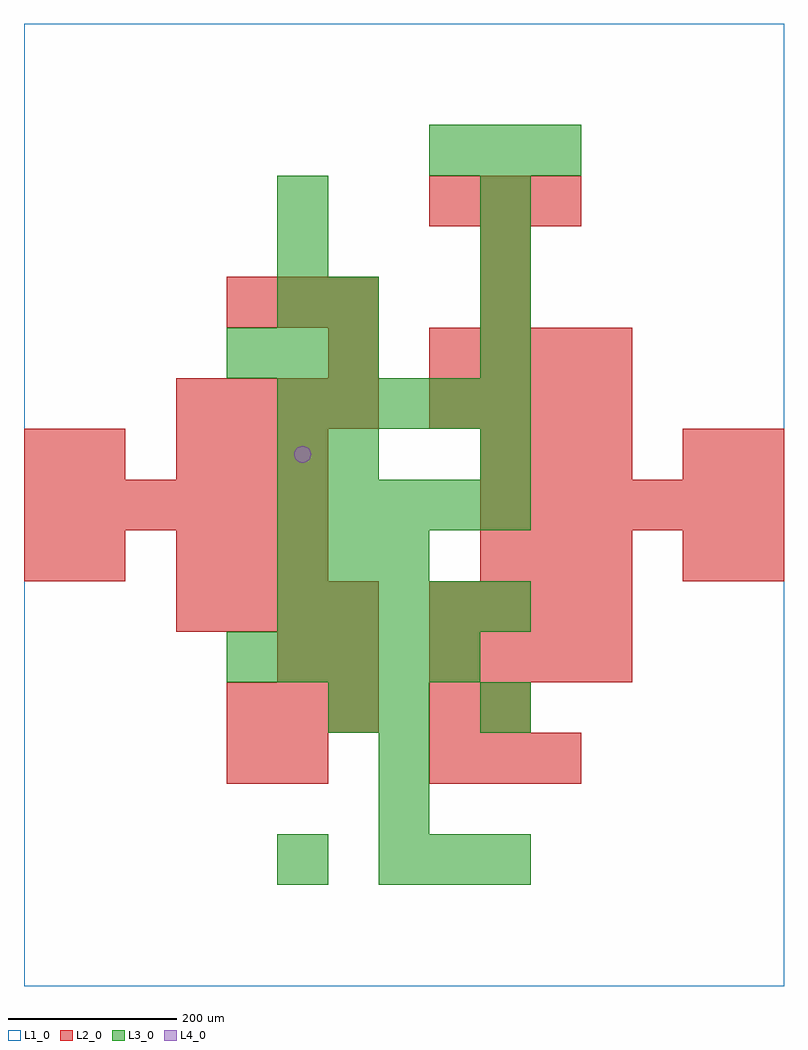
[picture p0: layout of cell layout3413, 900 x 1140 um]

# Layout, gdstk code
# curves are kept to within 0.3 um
import gdstk
lib = gdstk.Library(unit=1e-6, precision=1e-09)
def R(c, l, rs):  # rectangles x0, y0, x1, y1
    for r in rs: c.add(gdstk.rectangle(r[:2], r[2:], *l))
def A(c, l, x, y, w, h, nx, ny, dx, dy):  # array of equal rectangles
    R(c, l, [(x+i*dx, y+j*dy, x+i*dx+w, y+j*dy+h) for i in range(nx) for j in range(ny)])
def P(c, l, *ps):  # polygons
    for p in ps: c.add(gdstk.Polygon(p, *l))
L1_0 = (1, 0)
L2_0 = (2, 0)
L3_0 = (3, 0)
L4_0 = (4, 0)

layout3413 = lib.new_cell('layout3413')
R(layout3413, L1_0, [(0,0,900,1140)])
A(layout3413, L2_0, 480, 240, 60, 60, 3, 2, 60, 660)
A(layout3413, L2_0, 240, 300, 60, 60, 3, 2, 60, 480)
A(layout3413, L2_0, 480, 360, 60, 60, 4, 2, 60, 60)
A(layout3413, L2_0, 180, 420, 60, 60, 4, 2, 60, 240)
A(layout3413, L2_0, 180, 480, 60, 60, 3, 2, 60, 120)
A(layout3413, L2_0, 540, 480, 60, 60, 3, 2, 60, 120)
A(layout3413, L2_0, 0, 540, 60, 60, 6, 1, 60, 0)
A(layout3413, L2_0, 540, 540, 60, 60, 6, 1, 60, 0)
A(layout3413, L2_0, 480, 660, 60, 60, 4, 2, 60, 60)
R(layout3413, L2_0, [(240,240,300,300), (300,240,360,300), (480,300,540,360), (540,300,600,360), (300,360,360,420), (360,360,420,420), (0,480,60,540), (60,480,120,540), (780,480,840,540), (840,480,900,540), (0,600,60,660), (60,600,120,660), (780,600,840,660), (840,600,900,660), (360,720,420,780), (540,780,600,840), (540,840,600,900)])
A(layout3413, L3_0, 420, 120, 60, 60, 3, 1, 60, 0)
A(layout3413, L3_0, 420, 180, 60, 60, 1, 3, 0, 60)
A(layout3413, L3_0, 240, 360, 60, 60, 5, 1, 60, 0)
A(layout3413, L3_0, 300, 420, 60, 60, 5, 3, 60, 120)
A(layout3413, L3_0, 300, 480, 60, 60, 3, 1, 60, 0)
A(layout3413, L3_0, 240, 720, 60, 60, 3, 1, 60, 0)
A(layout3413, L3_0, 540, 720, 60, 60, 1, 4, 0, 60)
A(layout3413, L3_0, 300, 780, 60, 60, 1, 3, 0, 60)
A(layout3413, L3_0, 480, 960, 60, 60, 3, 1, 60, 0)
R(layout3413, L3_0, [(300,120,360,180), (360,300,420,360), (540,300,600,360), (300,600,360,660), (360,600,420,660), (540,600,600,660), (360,780,420,840)])
P(layout3413, L4_0, [(340,630),(339.239,633.827),(337.071,637.071),(333.827,639.239),(330,640),(326.173,639.239),(322.929,637.071),(320.761,633.827),(320,630),(320.761,626.173),(322.929,622.929),(326.173,620.761),(330,620),(333.827,620.761),(337.071,622.929),(339.239,626.173)])

lib.write_gds('layout3413.gds')
